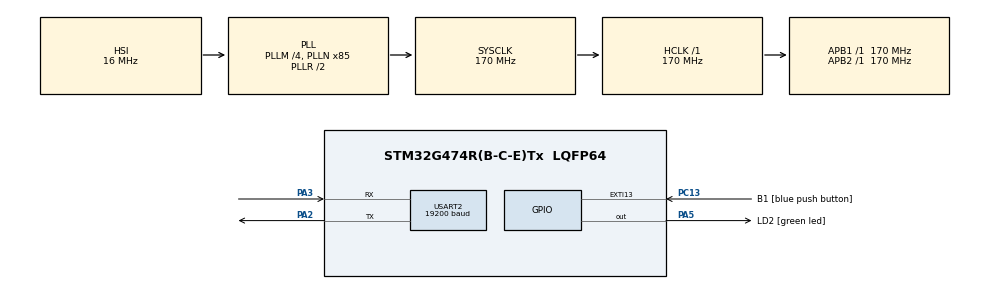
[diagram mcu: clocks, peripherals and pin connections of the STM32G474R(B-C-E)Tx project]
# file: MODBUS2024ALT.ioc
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Dma.Request0=USART2_TX
Dma.Request1=USART2_RX
Dma.USART2_RX.1.Direction=DMA_PERIPH_TO_MEMORY
Dma.USART2_RX.1.EventEnable=DISABLE
Dma.USART2_RX.1.Instance=DMA1_Channel2
Dma.USART2_RX.1.MemDataAlignment=DMA_MDATAALIGN_BYTE
Dma.USART2_RX.1.MemInc=DMA_MINC_ENABLE
Dma.USART2_RX.1.Mode=DMA_NORMAL
Dma.USART2_RX.1.PeriphDataAlignment=DMA_PDATAALIGN_BYTE
Dma.USART2_RX.1.PeriphInc=DMA_PINC_DISABLE
Dma.USART2_RX.1.Polarity=HAL_DMAMUX_REQ_GEN_RISING
Dma.USART2_RX.1.Priority=DMA_PRIORITY_LOW
Dma.USART2_RX.1.RequestNumber=1
Dma.USART2_RX.1.SignalID=NONE
Dma.USART2_RX.1.SyncEnable=DISABLE
Dma.USART2_RX.1.SyncPolarity=HAL_DMAMUX_SYNC_NO_EVENT
Dma.USART2_RX.1.SyncRequestNumber=1
Dma.USART2_RX.1.SyncSignalID=NONE
Dma.USART2_TX.0.Direction=DMA_MEMORY_TO_PERIPH
Dma.USART2_TX.0.EventEnable=DISABLE
Dma.USART2_TX.0.Instance=DMA1_Channel1
Dma.USART2_TX.0.MemDataAlignment=DMA_MDATAALIGN_BYTE
Dma.USART2_TX.0.MemInc=DMA_MINC_ENABLE
Dma.USART2_TX.0.Mode=DMA_NORMAL
Dma.USART2_TX.0.PeriphDataAlignment=DMA_PDATAALIGN_BYTE
Dma.USART2_TX.0.PeriphInc=DMA_PINC_DISABLE
Dma.USART2_TX.0.Polarity=HAL_DMAMUX_REQ_GEN_RISING
Dma.USART2_TX.0.Priority=DMA_PRIORITY_LOW
Dma.USART2_TX.0.RequestNumber=1
Dma.USART2_TX.0.SignalID=NONE
Dma.USART2_TX.0.SyncEnable=DISABLE
Dma.USART2_TX.0.SyncPolarity=HAL_DMAMUX_SYNC_NO_EVENT
Dma.USART2_TX.0.SyncRequestNumber=1
Dma.USART2_TX.0.SyncSignalID=NONE
Mcu.Family=STM32G4
Mcu.Name=STM32G474R(B-C-E)Tx
Mcu.Package=LQFP64
NVIC.DMA1_Channel1_IRQn=true\:0\:0\:false\:false\:true\:false\:true\:true
NVIC.DMA1_Channel2_IRQn=true\:0\:0\:false\:false\:true\:false\:true\:true
NVIC.EXTI15_10_IRQn=true\:0\:0\:false\:false\:true\:true\:true\:true
NVIC.PriorityGroup=NVIC_PRIORITYGROUP_4
NVIC.TIM1_UP_TIM16_IRQn=true\:0\:0\:false\:false\:true\:true\:true\:true
NVIC.TIM3_IRQn=true\:0\:0\:false\:false\:true\:true\:true\:true
NVIC.USART2_IRQn=true\:0\:0\:false\:false\:true\:true\:true\:true
PA13.GPIO_Label=T_SWDIO
PA13.Mode=Serial_Wire
PA13.Signal=SYS_JTMS-SWDIO
PA14.GPIO_Label=T_SWCLK
PA14.Mode=Serial_Wire
PA14.Signal=SYS_JTCK-SWCLK
PA2.Mode=Asynchronous
PA2.Signal=USART2_TX
PA3.Mode=Asynchronous
PA3.Signal=USART2_RX
PA5.GPIO_Label=LD2 [green led]
PA5.Signal=GPIO_Output
PB3.GPIO_Label=T_SWO
PB3.Signal=SYS_JTDO-SWO
PC13.GPIO_Label=B1 [blue push button]
PC13.Signal=GPXTI13
PC14-OSC32_IN.Mode=LSE-External-Oscillator
PC14-OSC32_IN.Signal=RCC_OSC32_IN
PC15-OSC32_OUT.Mode=LSE-External-Oscillator
PC15-OSC32_OUT.Signal=RCC_OSC32_OUT
PF0-OSC_IN.Mode=HSE-External-Oscillator
PF0-OSC_IN.Signal=RCC_OSC_IN
PF1-OSC_OUT.Mode=HSE-External-Oscillator
PF1-OSC_OUT.Signal=RCC_OSC_OUT
ProjectManager.HeapSize=0x200
ProjectManager.StackSize=0x400
ProjectManager.TargetToolchain=STM32CubeIDE
RCC.ADC12Freq_Value=170000000
RCC.ADC345Freq_Value=170000000
RCC.AHBFreq_Value=170000000
RCC.APB1Freq_Value=170000000
RCC.APB1TimFreq_Value=170000000
RCC.APB2Freq_Value=170000000
RCC.APB2TimFreq_Value=170000000
RCC.CortexFreq_Value=170000000
RCC.EXTERNAL_CLOCK_VALUE=12288000
RCC.HCLKFreq_Value=170000000
RCC.HSE_VALUE=24000000
RCC.HSI48_VALUE=48000000
RCC.HSI_VALUE=16000000
RCC.PLLM=RCC_PLLM_DIV4
RCC.PLLN=85
RCC.RTCClockSelection=RCC_RTCCLKSOURCE_LSE
RCC.SYSCLKFreq_VALUE=170000000
RCC.SYSCLKSource=RCC_SYSCLKSOURCE_PLLCLK
RCC.USBFreq_Value=170000000
RCC.VCOOutputFreq_Value=340000000
TIM16.PeriodNoDither=1145
TIM16.Prescaler=169
TIM3.PeriodNoDither=19999
TIM3.Prescaler=169
USART2.BaudRate=19200
USART2.OneBitSampling=UART_ONE_BIT_SAMPLE_DISABLE
USART2.Parity=PARITY_EVEN
USART2.VirtualMode-Asynchronous=VM_ASYNC
USART2.WordLength=WORDLENGTH_9B
VP_SYS_VS_DBSignals.Mode=DisableDeadBatterySignals
VP_TIM16_VS_ClockSourceINT.Mode=Enable_Timer
VP_TIM16_VS_OPM.Mode=OPM_bit
VP_TIM3_VS_ClockSourceINT.Mode=Internal
board=NUCLEO-G474RE

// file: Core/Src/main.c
/* USER CODE BEGIN Header */
/**
  ******************************************************************************
  * @file           : main.c
  * @brief          : Main program body
  ******************************************************************************
  * @attention
  *
  * Copyright (c) 2024 STMicroelectronics.
  * All rights reserved.
  *
  * This software is licensed under terms that can be found in the LICENSE file
  * in the root directory of this software component.
  * If no LICENSE file comes with this software, it is provided AS-IS.
  *
  ******************************************************************************
  */
/* USER CODE END Header */
#include "main.h"

/* USER CODE BEGIN Includes */
#include "ModBusRTU.h"

/* USER CODE END Includes */

TIM_HandleTypeDef htim3;
TIM_HandleTypeDef htim16;

UART_HandleTypeDef huart2;
DMA_HandleTypeDef hdma_usart2_tx;
DMA_HandleTypeDef hdma_usart2_rx;

/* USER CODE BEGIN PV */

//Base system
ModbusHandleTypedef hmodbus;
u16u8_t registerFrame[200];
char Vacuum[10] = "Off";
char Gripper[20] = "None";
char Shelves[20] = "None";
char Order[10] = "None";
char Jogmode[20] = "None";
char Home[20] = "None";
uint16_t Pick[5];
uint16_t Place[5];
uint16_t Jogging = 0;
uint16_t Jogginghome = 0;
uint16_t countPick = 0;
uint16_t countPlace = 0;

/* USER CODE END PV */

void SystemClock_Config(void);
static void MX_GPIO_Init(void);
static void MX_DMA_Init(void);
static void MX_USART2_UART_Init(void);
static void MX_TIM16_Init(void);
static void MX_TIM3_Init(void);
/* USER CODE BEGIN PFP */
//Base system
void Modbus_Protocal_Worker();
void Set_Shelves();
void Gripper_Movement_Status();
void Vacuum_Status();
void Run_Jog_Mode();
void SetPick_PlaceOrder();
void Set_Home();
void Set_Goal_Point();

/* USER CODE END PFP */

int main(void)
{

  /* MCU Configuration--------------------------------------------------------*/

  /* Reset of all peripherals, Initializes the Flash interface and the Systick. */
  HAL_Init();

  /* Configure the system clock */
  SystemClock_Config();

  /* Initialize all configured peripherals */
  MX_GPIO_Init();
  MX_DMA_Init();
  MX_USART2_UART_Init();
  MX_TIM16_Init();
  MX_TIM3_Init();
  /* USER CODE BEGIN 2 */
  hmodbus.huart = &huart2;
  hmodbus.htim = &htim16;
  hmodbus.slaveAddress = 0x15;
  hmodbus.RegisterSize =200;
  Modbus_init(&hmodbus, registerFrame);
  HAL_TIM_Base_Start_IT(&htim3);

  /* USER CODE END 2 */

  /* Infinite loop */
  while (1)
  {

    /* USER CODE BEGIN 3 */
	  Modbus_Protocal_Worker();
	  Set_Shelves();
	  Gripper_Movement_Status();
	  Vacuum_Status();
	  Run_Jog_Mode();
	  SetPick_PlaceOrder();
	  Set_Home();
	  Set_Goal_Point();

	  //**********ซัน***********
	  //Routime
	  registerFrame[0x10].U16 = 8;  //Z-axis Moving Status(0x10)
	  registerFrame[0x11].U16 = 8;	//Z-axis Actual Position(0x11)
	  registerFrame[0x12].U16 = 8;  //Z-axis Actual Speed (0x12)
	  registerFrame[0x13].U16 = 8;  //Z-axis Acceleration(0x13)
	  registerFrame[0x40].U16 = 8;  //X-axis Actual Position(0x40)

	  //read_Shelve_position , Set Shelves

  }
  /* USER CODE END 3 */
}

void SystemClock_Config(void)
{
  RCC_OscInitTypeDef RCC_OscInitStruct = {0};
  RCC_ClkInitTypeDef RCC_ClkInitStruct = {0};

  /** Configure the main internal regulator output voltage
  */
  HAL_PWREx_ControlVoltageScaling(PWR_REGULATOR_VOLTAGE_SCALE1_BOOST);

  /** Initializes the RCC Oscillators according to the specified parameters
  * in the RCC_OscInitTypeDef structure.
  */
  RCC_OscInitStruct.OscillatorType = RCC_OSCILLATORTYPE_HSI;
  RCC_OscInitStruct.HSIState = RCC_HSI_ON;
  RCC_OscInitStruct.HSICalibrationValue = RCC_HSICALIBRATION_DEFAULT;
  RCC_OscInitStruct.PLL.PLLState = RCC_PLL_ON;
  RCC_OscInitStruct.PLL.PLLSource = RCC_PLLSOURCE_HSI;
  RCC_OscInitStruct.PLL.PLLM = RCC_PLLM_DIV4;
  RCC_OscInitStruct.PLL.PLLN = 85;
  RCC_OscInitStruct.PLL.PLLP = RCC_PLLP_DIV2;
  RCC_OscInitStruct.PLL.PLLQ = RCC_PLLQ_DIV2;
  RCC_OscInitStruct.PLL.PLLR = RCC_PLLR_DIV2;
  if (HAL_RCC_OscConfig(&RCC_OscInitStruct) != HAL_OK)
  {
    Error_Handler();
  }

  /** Initializes the CPU, AHB and APB buses clocks
  */
  RCC_ClkInitStruct.ClockType = RCC_CLOCKTYPE_HCLK|RCC_CLOCKTYPE_SYSCLK
                              |RCC_CLOCKTYPE_PCLK1|RCC_CLOCKTYPE_PCLK2;
  RCC_ClkInitStruct.SYSCLKSource = RCC_SYSCLKSOURCE_PLLCLK;
  RCC_ClkInitStruct.AHBCLKDivider = RCC_SYSCLK_DIV1;
  RCC_ClkInitStruct.APB1CLKDivider = RCC_HCLK_DIV1;
  RCC_ClkInitStruct.APB2CLKDivider = RCC_HCLK_DIV1;

  if (HAL_RCC_ClockConfig(&RCC_ClkInitStruct, FLASH_LATENCY_4) != HAL_OK)
  {
    Error_Handler();
  }
}

static void MX_TIM3_Init(void)
{

  TIM_ClockConfigTypeDef sClockSourceConfig = {0};
  TIM_MasterConfigTypeDef sMasterConfig = {0};

  htim3.Instance = TIM3;
  htim3.Init.Prescaler = 169;
  htim3.Init.CounterMode = TIM_COUNTERMODE_UP;
  htim3.Init.Period = 19999;
  htim3.Init.ClockDivision = TIM_CLOCKDIVISION_DIV1;
  htim3.Init.AutoReloadPreload = TIM_AUTORELOAD_PRELOAD_DISABLE;
  if (HAL_TIM_Base_Init(&htim3) != HAL_OK)
  {
    Error_Handler();
  }
  sClockSourceConfig.ClockSource = TIM_CLOCKSOURCE_INTERNAL;
  if (HAL_TIM_ConfigClockSource(&htim3, &sClockSourceConfig) != HAL_OK)
  {
    Error_Handler();
  }
  sMasterConfig.MasterOutputTrigger = TIM_TRGO_RESET;
  sMasterConfig.MasterSlaveMode = TIM_MASTERSLAVEMODE_DISABLE;
  if (HAL_TIMEx_MasterConfigSynchronization(&htim3, &sMasterConfig) != HAL_OK)
  {
    Error_Handler();
  }

}

static void MX_TIM16_Init(void)
{

  htim16.Instance = TIM16;
  htim16.Init.Prescaler = 169;
  htim16.Init.CounterMode = TIM_COUNTERMODE_UP;
  htim16.Init.Period = 1145;
  htim16.Init.ClockDivision = TIM_CLOCKDIVISION_DIV1;
  htim16.Init.RepetitionCounter = 0;
  htim16.Init.AutoReloadPreload = TIM_AUTORELOAD_PRELOAD_DISABLE;
  if (HAL_TIM_Base_Init(&htim16) != HAL_OK)
  {
    Error_Handler();
  }
  if (HAL_TIM_OnePulse_Init(&htim16, TIM_OPMODE_SINGLE) != HAL_OK)
  {
    Error_Handler();
  }

}

static void MX_USART2_UART_Init(void)
{

  huart2.Instance = USART2;
  huart2.Init.BaudRate = 19200;
  huart2.Init.WordLength = UART_WORDLENGTH_9B;
  huart2.Init.StopBits = UART_STOPBITS_1;
  huart2.Init.Parity = UART_PARITY_EVEN;
  huart2.Init.Mode = UART_MODE_TX_RX;
  huart2.Init.HwFlowCtl = UART_HWCONTROL_NONE;
  huart2.Init.OverSampling = UART_OVERSAMPLING_16;
  huart2.Init.OneBitSampling = UART_ONE_BIT_SAMPLE_DISABLE;
  huart2.Init.ClockPrescaler = UART_PRESCALER_DIV1;
  huart2.AdvancedInit.AdvFeatureInit = UART_ADVFEATURE_NO_INIT;
  if (HAL_UART_Init(&huart2) != HAL_OK)
  {
    Error_Handler();
  }
  if (HAL_UARTEx_SetTxFifoThreshold(&huart2, UART_TXFIFO_THRESHOLD_1_8) != HAL_OK)
  {
    Error_Handler();
  }
  if (HAL_UARTEx_SetRxFifoThreshold(&huart2, UART_RXFIFO_THRESHOLD_1_8) != HAL_OK)
  {
    Error_Handler();
  }
  if (HAL_UARTEx_DisableFifoMode(&huart2) != HAL_OK)
  {
    Error_Handler();
  }

}

static void MX_DMA_Init(void)
{

  /* DMA controller clock enable */
  __HAL_RCC_DMAMUX1_CLK_ENABLE();
  __HAL_RCC_DMA1_CLK_ENABLE();

  /* DMA interrupt init */
  /* DMA1_Channel1_IRQn interrupt configuration */
  HAL_NVIC_SetPriority(DMA1_Channel1_IRQn, 0, 0);
  HAL_NVIC_EnableIRQ(DMA1_Channel1_IRQn);
  /* DMA1_Channel2_IRQn interrupt configuration */
  HAL_NVIC_SetPriority(DMA1_Channel2_IRQn, 0, 0);
  HAL_NVIC_EnableIRQ(DMA1_Channel2_IRQn);

}

static void MX_GPIO_Init(void)
{
  GPIO_InitTypeDef GPIO_InitStruct = {0};

  /* GPIO Ports Clock Enable */
  __HAL_RCC_GPIOC_CLK_ENABLE();
  __HAL_RCC_GPIOF_CLK_ENABLE();
  __HAL_RCC_GPIOA_CLK_ENABLE();
  __HAL_RCC_GPIOB_CLK_ENABLE();

  /*Configure GPIO pin Output Level */
  HAL_GPIO_WritePin(LD2_GPIO_Port, LD2_Pin, GPIO_PIN_RESET);

  /*Configure GPIO pin : B1_Pin */
  GPIO_InitStruct.Pin = B1_Pin;
  GPIO_InitStruct.Mode = GPIO_MODE_IT_RISING;
  GPIO_InitStruct.Pull = GPIO_NOPULL;
  HAL_GPIO_Init(B1_GPIO_Port, &GPIO_InitStruct);

  /*Configure GPIO pin : LD2_Pin */
  GPIO_InitStruct.Pin = LD2_Pin;
  GPIO_InitStruct.Mode = GPIO_MODE_OUTPUT_PP;
  GPIO_InitStruct.Pull = GPIO_NOPULL;
  GPIO_InitStruct.Speed = GPIO_SPEED_FREQ_LOW;
  HAL_GPIO_Init(LD2_GPIO_Port, &GPIO_InitStruct);

  /* EXTI interrupt init*/
  HAL_NVIC_SetPriority(EXTI15_10_IRQn, 0, 0);
  HAL_NVIC_EnableIRQ(EXTI15_10_IRQn);

}

/* USER CODE BEGIN 4 */

//1.Heart Beat
void HAL_TIM_PeriodElapsedCallback(TIM_HandleTypeDef *htim) {
    if (htim == &htim3 )
    {
       registerFrame[0x00].U16 = 22881;
    }
}

void Vacuum_Status(){
    //Vacuum On
    if (registerFrame[0x02].U16 == 1){
        strcpy(Vacuum, "On");  // Copy string "On" to Vacuum array
    }
    //Vacuum Off
    else if (registerFrame[0x02].U16 == 0){
        strcpy(Vacuum, "Off");  // Copy string "Off" to Vacuum array
    }
}

void Gripper_Movement_Status(){
    //Movement Forward
    if (registerFrame[0x03].U16 == 1){
        strcpy(Gripper, "Forward");  // Copy string "Forward" to Gripper array
    }
    //Movement Backward
    else if (registerFrame[0x03].U16 == 0){
        strcpy(Gripper, "Backward");  // Copy string "Backward" to Gripper array
    }
}
void Set_Shelves(){
    //Set
    if (registerFrame[0x01].U16 == 1){
        strcpy(Shelves, "SET");  // Copy string "SET" to Set_Shelves array
        registerFrame[0x01].U16 = 0;
        registerFrame[0x10].U16 = 1;

        if(Jogging == 1){
        	registerFrame[0x10].U16 = 0;
        }
    }

    registerFrame[0x23].U16 = 8;  //1st Shelve Position
    registerFrame[0x24].U16 = 8;  //2nd Shelve Position
    registerFrame[0x25].U16 = 8;  //3rd Shelve Position
    registerFrame[0x26].U16 = 8;  //4th Shelve Position
    registerFrame[0x27].U16 = 8;  //5th Shelve Position
}

void Set_Goal_Point(){
	if (registerFrame[0x30].U16 != 0){
		Run_Point_Mode();
	 }
}

void Run_Point_Mode(){

	if (registerFrame[0x01].U16 == 8){
		registerFrame[0x01].U16 = 0;
		registerFrame[0x10].U16 = 1 ;
	}
}

void Set_Home(){
	registerFrame[0x01].U16 = 2;
	registerFrame[0x01].U16 = 0;
	registerFrame[0x01].U16 = 2;
	strcpy(Home, "Homing...");
	if (Jogginghome == 1){
		registerFrame[0x01].U16 = 0;
	}

}
void SetPick_PlaceOrder() {
    if (registerFrame[0x21].U16 != 00000 && registerFrame[0x22].U16 != 00000 ) {
    	strcpy(Order, "Pick");
    	Pick[0] = registerFrame[0x21].U16/10000;
    	countPick += Pick[0]*10000;
    	strcpy(Order, "Place");
    	Place[0] = registerFrame[0x22].U16/10000;
    	countPlace +=Place[0]*10000;

    	strcpy(Order, "Pick");
    	Pick[1] = (registerFrame[0x21].U16- countPick)/1000;
    	countPick += Pick[1]*1000;
    	strcpy(Order, "Place");
    	Place[1] = (registerFrame[0x22].U16- countPlace)/1000;
    	countPlace +=Place[1]*1000;

    	strcpy(Order, "Pick");
		Pick[2] = (registerFrame[0x21].U16 - countPick) / 100;
		countPick += Pick[2] * 100;
		strcpy(Order, "Place");
		Place[2] = (registerFrame[0x22].U16 - countPlace) / 100;
		countPlace += Place[2] * 100;

		strcpy(Order, "Pick");
		Pick[3] = (registerFrame[0x21].U16 - countPick) / 10;
		countPick += Pick[3] * 10;
		strcpy(Order, "Place");
		Place[3] = (registerFrame[0x22].U16 - countPlace) / 10;
		countPlace += Place[3] * 10;

		strcpy(Order, "Pick");
		Pick[4] = (registerFrame[0x21].U16 - countPick);
		countPick = 0;
		strcpy(Order, "Place");
		Place[4] = (registerFrame[0x22].U16 - countPlace);
		countPlace = 0;

    }
}

void Run_Jog_Mode() {
	if (registerFrame[0x01].U16 == 4) {
		strcpy(Jogmode, "Run Jog Mode");
		registerFrame[0x01].U16 = 0;
		for (int i = 0; i < 5; i++) {
			strcpy(Jogmode, "Go to Pick...");
			registerFrame[0x10].U16 = 4;
			SetPick_PlaceOrder(); //�?�?้ให้เข้า�?ับซัน

			strcpy(Jogmode, "Go to Place...");
			registerFrame[0x10].U16 = 8;
			SetPick_PlaceOrder(); //�?�?้ให้เข้า�?ับซัน
		}
	}
	registerFrame[0x10].U16 = 0;
}

/* USER CODE END 4 */

void Error_Handler(void)
{
  __disable_irq();
  while (1)
  {
  }
}
